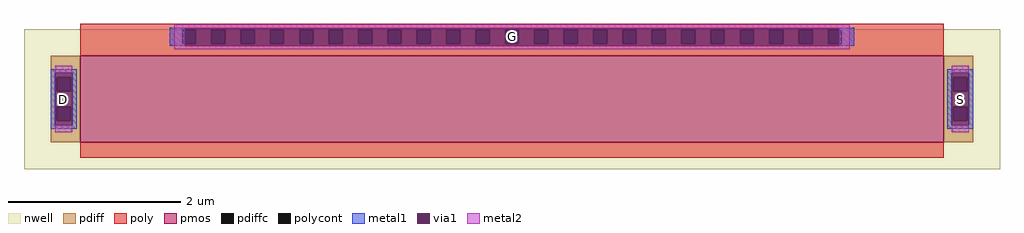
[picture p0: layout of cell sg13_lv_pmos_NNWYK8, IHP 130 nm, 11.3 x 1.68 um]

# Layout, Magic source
magic
tech ihp-sg13g2
magscale 1 2
<< nwell >>
rect -1130 -181 1130 143
<< pmos >>
rect -1000 -119 1000 81
<< pdiff >>
rect -1068 31 -1000 81
rect -1068 -1 -1054 31
rect -1022 -1 -1000 31
rect -1068 -37 -1000 -1
rect -1068 -69 -1054 -37
rect -1022 -69 -1000 -37
rect -1068 -119 -1000 -69
rect 1000 31 1068 81
rect 1000 -1 1022 31
rect 1054 -1 1068 31
rect 1000 -37 1068 -1
rect 1000 -69 1022 -37
rect 1054 -69 1068 -37
rect 1000 -119 1068 -69
<< pdiffc >>
rect -1054 -1 -1022 31
rect -1054 -69 -1022 -37
rect 1022 -1 1054 31
rect 1022 -69 1054 -37
<< poly >>
rect -1000 141 1000 155
rect -1000 109 -764 141
rect -732 109 -696 141
rect -664 109 -628 141
rect -596 109 -560 141
rect -528 109 -492 141
rect -460 109 -424 141
rect -392 109 -356 141
rect -324 109 -288 141
rect -256 109 -220 141
rect -188 109 -152 141
rect -120 109 -84 141
rect -52 109 -16 141
rect 16 109 52 141
rect 84 109 120 141
rect 152 109 188 141
rect 220 109 256 141
rect 288 109 324 141
rect 356 109 392 141
rect 424 109 460 141
rect 492 109 528 141
rect 560 109 596 141
rect 628 109 664 141
rect 696 109 732 141
rect 764 109 1000 141
rect -1000 81 1000 109
rect -1000 -155 1000 -119
<< polycont >>
rect -764 109 -732 141
rect -696 109 -664 141
rect -628 109 -596 141
rect -560 109 -528 141
rect -492 109 -460 141
rect -424 109 -392 141
rect -356 109 -324 141
rect -288 109 -256 141
rect -220 109 -188 141
rect -152 109 -120 141
rect -84 109 -52 141
rect -16 109 16 141
rect 52 109 84 141
rect 120 109 152 141
rect 188 109 220 141
rect 256 109 288 141
rect 324 109 356 141
rect 392 109 424 141
rect 460 109 492 141
rect 528 109 560 141
rect 596 109 628 141
rect 664 109 696 141
rect 732 109 764 141
<< metal1 >>
rect -792 145 792 146
rect -792 141 -758 145
rect 758 141 792 145
rect -792 109 -764 141
rect 764 109 792 141
rect -792 105 -758 109
rect 758 105 792 109
rect -792 104 792 105
rect -1068 42 -1008 50
rect -1068 -80 -1058 42
rect -1018 -80 -1008 42
rect -1068 -88 -1008 -80
rect 1008 42 1068 50
rect 1008 -80 1018 42
rect 1058 -80 1068 42
rect 1008 -88 1068 -80
<< via1 >>
rect -758 141 758 145
rect -758 109 -732 141
rect -732 109 -696 141
rect -696 109 -664 141
rect -664 109 -628 141
rect -628 109 -596 141
rect -596 109 -560 141
rect -560 109 -528 141
rect -528 109 -492 141
rect -492 109 -460 141
rect -460 109 -424 141
rect -424 109 -392 141
rect -392 109 -356 141
rect -356 109 -324 141
rect -324 109 -288 141
rect -288 109 -256 141
rect -256 109 -220 141
rect -220 109 -188 141
rect -188 109 -152 141
rect -152 109 -120 141
rect -120 109 -84 141
rect -84 109 -52 141
rect -52 109 -16 141
rect -16 109 16 141
rect 16 109 52 141
rect 52 109 84 141
rect 84 109 120 141
rect 120 109 152 141
rect 152 109 188 141
rect 188 109 220 141
rect 220 109 256 141
rect 256 109 288 141
rect 288 109 324 141
rect 324 109 356 141
rect 356 109 392 141
rect 392 109 424 141
rect 424 109 460 141
rect 460 109 492 141
rect 492 109 528 141
rect 528 109 560 141
rect 560 109 596 141
rect 596 109 628 141
rect 628 109 664 141
rect 664 109 696 141
rect 696 109 732 141
rect 732 109 758 141
rect -758 105 758 109
rect -1058 31 -1018 42
rect -1058 -1 -1054 31
rect -1054 -1 -1022 31
rect -1022 -1 -1018 31
rect -1058 -37 -1018 -1
rect -1058 -69 -1054 -37
rect -1054 -69 -1022 -37
rect -1022 -69 -1018 -37
rect -1058 -80 -1018 -69
rect 1018 31 1058 42
rect 1018 -1 1022 31
rect 1022 -1 1054 31
rect 1054 -1 1058 31
rect 1018 -37 1058 -1
rect 1018 -69 1022 -37
rect 1022 -69 1054 -37
rect 1054 -69 1058 -37
rect 1018 -80 1058 -69
<< metal2 >>
rect -782 145 782 154
rect -782 105 -758 145
rect 758 105 782 145
rect -782 96 782 105
rect -1058 42 -1018 58
rect -1058 -96 -1018 -80
rect 1018 42 1058 58
rect 1018 -96 1058 -80
<< labels >>
rlabel metal1 s -1038 -19 -1038 -19 4 D
rlabel metal1 s 1038 -19 1038 -19 4 S
rlabel metal1 s 0 125 0 125 4 G
<< end >>
